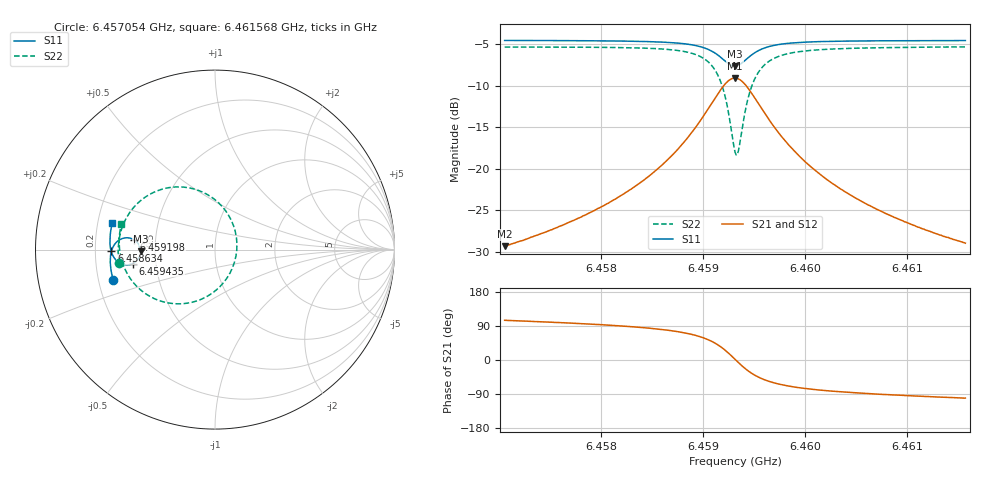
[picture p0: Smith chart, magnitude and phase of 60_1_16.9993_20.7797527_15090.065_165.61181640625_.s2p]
#  HZ  S  RI  R  50.00
! Rohde & Schwarz Vector Network Analyzer
! Rohde-Schwarz,ZNB20-2Port,1311601062101988,3.16
! Created: UTC 3/20/2024, 10:54:45 PM
! freq[Hz]  re:S11  im:S11  re:S21  im:S21  re:S12  im:S12  re:S22  im:S22
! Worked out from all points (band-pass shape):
!   401 points, 6.457054 GHz to 6.461568 GHz, reference 50 ohm
!   highest |S21| = -9.08 dB at 6.459311 GHz (marker M1); lowest = -29.3 dB at 6.457054 GHz (marker M2)
!   |S21| within 3 dB of the highest: 6.459085 GHz to 6.459536 GHz (451.6 kHz wide, 0.00699 % of centre)
!   lowest |S11| = -7.7 dB at 6.459311 GHz (marker M3), VSWR 2.42, Z = 20.7 - j0.507 ohm
!   |S11| at or under -10 dB: nowhere
!   |S22| runs from -18.3 to -5.3 dB; largest |S21 - S12| = 0.014
!   S11 on the Smith chart (normalised r, x): 6.457054 GHz: 0.26, -0.13; 6.458634 GHz: 0.27, -0.01; 6.459198 GHz: 0.38, +0.05; 6.459435 GHz: 0.37, -0.07; 6.461568 GHz: 0.26, +0.12
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6.4570541e9  -0.5676 -0.1677  -0.00876 0.0332  -0.00694 0.0331  -0.5349 -0.077
6.4578102e9  -0.5809 -0.1011  -0.00525 0.0513  -0.00267 0.0507  -0.5388 0.0127
6.4582051e9  -0.5835 -0.0614  0.000342 0.0697  0.00368 0.0684  -0.5306 0.0757
6.4585662e9  -0.5794 -0.0179  0.0153 0.1005  0.0192 0.0977  -0.5032 0.1578
6.458634e9  -0.577 -0.00839  0.0207 0.109  0.0248 0.1058  -0.4929 0.178
6.4588258e9  -0.5641 0.022  0.0478 0.1403  0.052 0.1353  -0.4417 0.2474
6.4589725e9  -0.5409 0.0485  0.0942 0.1712  0.0974 0.1643  -0.3562 0.3118
6.4591079e9  -0.496 0.0657  0.1833 0.1873  0.1841 0.18  -0.1936 0.3493
6.4591982e9  -0.4505 0.0548  0.2746 0.1547  0.2748 0.149  -0.0247 0.2958
6.4592659e9  -0.4211 0.0217  0.3356 0.081  0.3379 0.0757  0.0911 0.1623
6.4593111e9  -0.4143 -0.0101  0.3515 0.0118  0.3555 0.00469  0.1221 0.0325
6.4593449e9  -0.4185 -0.0344  0.3452 -0.0417  0.3493 -0.0509  0.109 -0.0682
6.4593901e9  -0.4345 -0.0609  0.3155 -0.1022  0.3179 -0.1144  0.049 -0.1825
6.4594352e9  -0.457 -0.0775  0.2726 -0.1434  0.2716 -0.1569  -0.0386 -0.2575
6.4595255e9  -0.5012 -0.0845  0.1861 -0.1744  0.1798 -0.1861  -0.2103 -0.3021
6.4595932e9  -0.5259 -0.0771  0.137 -0.172  0.1289 -0.1811  -0.3048 -0.286
6.4596722e9  -0.5458 -0.0639  0.0971 -0.1596  0.0884 -0.1658  -0.3796 -0.2503
6.4598302e9  -0.5677 -0.0362  0.0517 -0.1311  0.0439 -0.1338  -0.4604 -0.1769
6.4600672e9  -0.5806 -0.000667  0.0224 -0.0989  0.0164 -0.0994  -0.5083 -0.0936
6.460417e9  -0.5853 0.0412  0.00588 -0.071  0.00185 -0.0704  -0.5299 -0.0117
6.4608232e9  -0.5837 0.0823  -0.00145 -0.0528  -0.00433 -0.0519  -0.5336 0.0541
6.4615681e9  -0.572 0.1486  -0.00651 -0.0352  -0.00835 -0.0342  -0.5224 0.1432
